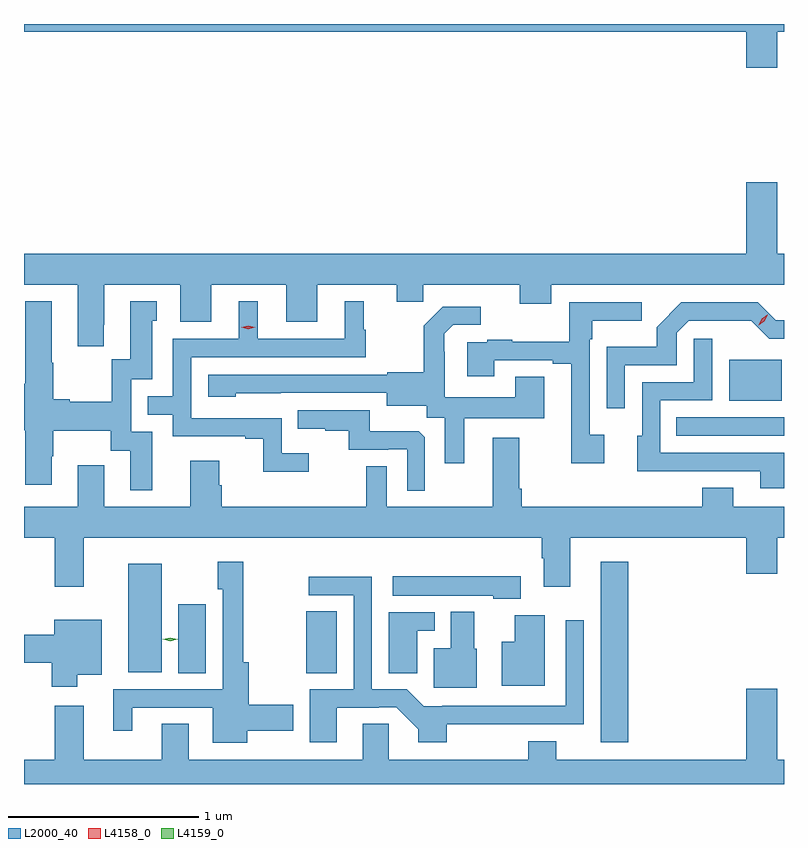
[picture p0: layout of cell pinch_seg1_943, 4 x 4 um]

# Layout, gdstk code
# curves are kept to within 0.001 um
import gdstk
lib = gdstk.Library(unit=1e-6, precision=1e-09)
def R(c, l, rs):  # rectangles x0, y0, x1, y1
    for r in rs: c.add(gdstk.rectangle(r[:2], r[2:], *l))
def P(c, l, *ps):  # polygons
    for p in ps: c.add(gdstk.Polygon(p, *l))
L2000_40 = (2000, 40)
L4158_0 = (4158, 0)
L4159_0 = (4159, 0)

pinch_seg1_943 = lib.new_cell('pinch_seg1_943')
R(pinch_seg1_943, L2000_40, [(188.219,509.364,188.363,510.316), (185.996,509.728,186.139,510.091), (186.668,509.728,186.829,510.053), (185.732,509.732,185.908,510.304), (188.617,510.978,189.183,511.074), (188.894,511.163,189.172,511.378)])
P(pinch_seg1_943, L2000_40, [(189.148,513.104),(189.183,513.104),(189.183,513.145),(185.183,513.145),(185.183,513.104),(188.984,513.104),(188.984,512.916),(189.148,512.916)],
  [(185.183,511.772),(185.465,511.772),(185.465,511.449),(185.602,511.449),(185.602,511.561),(185.605,511.561),(185.605,511.772),(186.005,511.772),(186.005,511.578),(186.169,511.578),(186.169,511.772),(186.563,511.772),(186.563,511.578),(186.727,511.578),(186.727,511.772),(187.145,511.772),(187.145,511.682),(187.283,511.682),(187.283,511.772),(187.793,511.772),(187.793,511.673),(187.957,511.673),(187.957,511.772),(189.183,511.772),(189.183,511.936),(189.148,511.936),(189.148,512.311),(188.984,512.311),(188.984,511.936),(185.183,511.936)],
  [(185.857,510.999),(185.748,510.999),(185.748,511.275),(185.857,511.275),(185.857,511.584),(185.881,511.584),(185.881,511.687),(185.741,511.687),(185.741,511.38),(185.645,511.38),(185.645,511.156),(185.425,511.156),(185.425,511.169),(185.337,511.169),(185.337,511.361),(185.329,511.361),(185.329,511.687),(185.189,511.687),(185.189,511.252),(185.183,511.252),(185.183,511.008),(185.189,511.008),(185.189,510.72),(185.329,510.72),(185.329,510.87),(185.337,510.87),(185.337,511.004),(185.64,511.004),(185.64,510.898),(185.741,510.898),(185.741,510.69),(185.857,510.69)],
  [(186.682,510.886),(186.54,510.886),(186.54,511.071),(186.063,511.071),(186.063,511.392),(186.982,511.392),(186.982,511.536),(186.97,511.536),(186.97,511.687),(186.872,511.687),(186.872,511.488),(186.412,511.488),(186.412,511.687),(186.314,511.687),(186.314,511.488),(185.967,511.488),(185.967,511.185),(185.833,511.185),(185.833,511.089),(185.967,511.089),(185.967,510.975),(186.347,510.975),(186.347,510.963),(186.442,510.963),(186.442,510.788),(186.682,510.788)],
  [(188.236,510.982),(188.16,510.982),(188.16,511.487),(188.173,511.487),(188.173,511.583),(188.434,511.583),(188.434,511.68),(188.052,511.68),(188.052,511.472),(187.753,511.472),(187.753,511.483),(187.621,511.483),(187.621,511.47),(187.517,511.47),(187.517,511.29),(187.657,511.29),(187.657,511.374),(187.967,511.374),(187.967,511.356),(188.063,511.356),(188.063,510.834),(188.236,510.834)],
  [(188.346,511.35),(188.619,511.35),(188.619,511.521),(188.682,511.584),(189.011,511.583),(189.105,511.488),(189.183,511.488),(189.183,511.586),(189.14,511.586),(189.045,511.68),(188.642,511.68),(188.512,511.55),(188.512,511.447),(188.25,511.447),(188.25,511.122),(188.346,511.122)],
  [(187.501,511.07),(187.921,511.07),(187.921,511.289),(187.769,511.289),(187.769,511.18),(187.398,511.18),(187.398,511.421),(187.396,511.421),(187.396,511.516),(187.443,511.563),(187.588,511.563),(187.588,511.657),(187.387,511.657),(187.287,511.557),(187.287,511.312),(187.095,511.312),(187.095,511.299),(186.153,511.299),(186.153,511.184),(186.297,511.184),(186.297,511.202),(187.091,511.203),(187.091,511.136),(187.302,511.136),(187.302,511.072),(187.397,511.072),(187.397,510.834),(187.501,510.834)],
  [(189.183,510.888),(188.532,510.888),(188.532,511.164),(188.805,511.164),(188.805,511.489),(188.709,511.489),(188.709,511.26),(188.436,511.26),(188.436,510.978),(188.411,510.978),(188.411,510.791),(188.629,510.791),(188.629,510.792),(189.059,510.792),(189.059,510.702),(189.183,510.702)],
  [(187.293,510.969),(187.261,511.001),(187.003,511.001),(187.003,511.113),(186.625,511.113),(186.625,511.016),(186.769,511.016),(186.769,511.005),(186.893,511.005),(186.893,510.903),(187.1,510.903),(187.1,510.906),(187.2,510.906),(187.2,510.689),(187.293,510.689)],
  [(186.059,510.847),(186.059,510.604),(185.605,510.604),(185.605,510.823),(185.465,510.823),(185.465,510.604),(185.183,510.604),(185.183,510.44),(185.345,510.44),(185.345,510.183),(185.497,510.183),(185.497,510.44),(187.907,510.44),(187.907,510.334),(187.919,510.334),(187.919,510.183),(188.059,510.183),(188.059,510.44),(188.984,510.44),(188.984,510.252),(189.148,510.252),(189.148,510.44),(189.183,510.44),(189.183,510.604),(188.917,510.604),(188.917,510.703),(188.753,510.703),(188.753,510.604),(187.802,510.604),(187.802,510.7),(187.789,510.7),(187.789,510.967),(187.649,510.967),(187.649,510.604),(187.092,510.604),(187.092,510.818),(186.984,510.818),(186.984,510.604),(186.224,510.604),(186.224,510.717),(186.211,510.717),(186.211,510.847)],
  [(186.358,509.426),(186.601,509.426),(186.601,509.561),(186.366,509.561),(186.366,509.785),(186.337,509.785),(186.337,510.316),(186.202,510.316),(186.202,510.171),(186.228,510.171),(186.228,509.643),(185.654,509.643),(185.654,509.424),(185.752,509.424),(185.752,509.547),(186.176,509.547),(186.176,509.363),(186.358,509.363)],
  [(187.798,510.238),(187.125,510.238),(187.125,510.137),(187.653,510.137),(187.653,510.119),(187.798,510.119)],
  [(186.829,509.547),(187.049,509.547),(187.049,509.55),(187.143,509.55),(187.259,509.434),(187.259,509.366),(187.407,509.366),(187.407,509.459),(188.13,509.46),(188.13,510.007),(188.034,510.007),(188.034,509.556),(187.384,509.556),(187.384,509.553),(187.288,509.553),(187.198,509.643),(187.014,509.643),(187.014,510.236),(186.681,510.236),(186.681,510.138),(186.918,510.138),(186.918,509.643),(186.686,509.643),(186.686,509.364),(186.829,509.364)],
  [(187.567,509.856),(187.552,509.856),(187.552,510.052),(187.43,510.052),(187.43,509.86),(187.34,509.86),(187.34,509.651),(187.567,509.651)],
  [(187.252,509.952),(187.345,509.952),(187.345,510.048),(187.103,510.048),(187.103,509.728),(187.252,509.728)],
  [(187.924,510.034),(187.766,510.034),(187.766,509.893),(187.697,509.893),(187.697,509.663),(187.924,509.663)],
  [(185.464,509.72),(185.593,509.72),(185.593,510.01),(185.342,510.01),(185.342,509.93),(185.183,509.93),(185.183,509.783),(185.33,509.783),(185.33,509.658),(185.464,509.658)],
  [(189.183,509.272),(189.148,509.272),(189.148,509.647),(188.984,509.647),(188.984,509.272),(187.984,509.272),(187.984,509.371),(187.837,509.371),(187.837,509.272),(187.104,509.272),(187.104,509.462),(186.965,509.462),(186.965,509.272),(186.049,509.272),(186.049,509.462),(185.909,509.462),(185.909,509.272),(185.497,509.272),(185.497,509.557),(185.345,509.557),(185.345,509.272),(185.183,509.272),(185.183,509.145),(189.183,509.145)])
P(pinch_seg1_943, L4158_0, [(186.363,511.538),(186.327,511.548),(186.327,511.548),(186.327,511.548),(186.363,511.558),(186.399,511.548),(186.399,511.548),(186.399,511.548)],
  [(189.049,511.56),(189.049,511.56),(189.065,511.594),(189.096,511.614),(189.097,511.614),(189.097,511.614),(189.08,511.58),(189.05,511.56)])
P(pinch_seg1_943, L4159_0, [(185.953,509.896),(185.912,509.906),(185.912,509.906),(185.912,509.906),(185.953,509.916),(185.993,509.906),(185.993,509.906),(185.993,509.906)])

lib.write_gds('pinch_seg1_943.gds')
